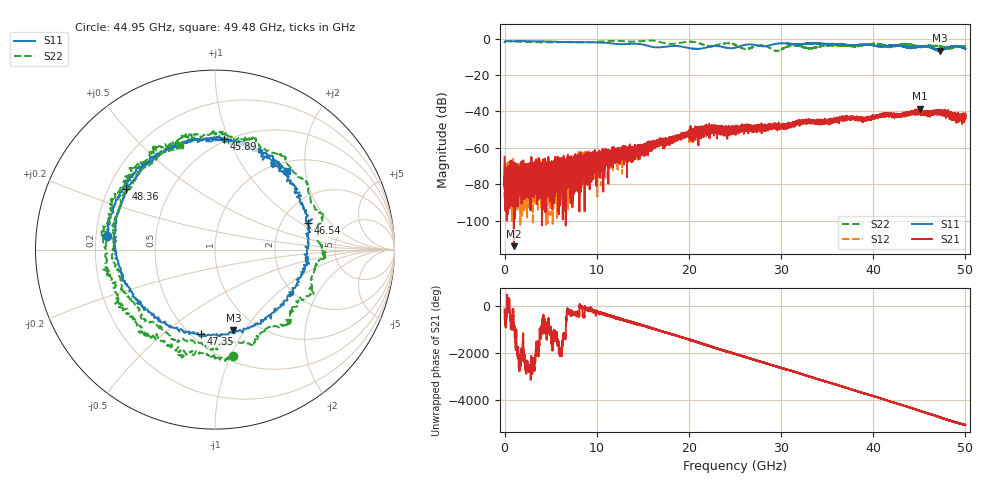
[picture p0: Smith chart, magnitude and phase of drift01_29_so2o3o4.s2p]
!Created with skrf (http://scikit-rf.org).
# Hz S RI R 50.0
!freq ReS11 ImS11 ReS21 ImS21 ReS12 ImS12 ReS22 ImS22
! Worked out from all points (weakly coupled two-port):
!   10001 points, 300 kHz to 50 GHz, reference 50 ohm
!   highest |S21| = -38.46 dB at 45.09 GHz (marker M1); lowest = -113.9 dB at 1 GHz (marker M2)
!   lowest |S11| = -6.7 dB at 47.2 GHz (marker M3), VSWR 2.71, Z = 39.1 - j44.6 ohm
!   |S11| at or under -10 dB: nowhere
!   |S22| runs from -6.8 to -1.0 dB; largest |S21 - S12| = 0.0039
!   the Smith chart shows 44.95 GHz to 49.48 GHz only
!   S11 on the Smith chart (normalised r, x): 44.95 GHz: 0.25, +0.06; 45.89 GHz: 0.48, +0.96; 46.54 GHz: 2.81, +1.16; 47.35 GHz: 0.56, -0.68; 48.36 GHz: 0.27, +0.29; 49.48 GHz: 1.17, +1.58
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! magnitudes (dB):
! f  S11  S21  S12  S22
! 300 kHz  -2.1  -64.9  -67.0  -1.3
! 255.3 MHz  -1.4  -74.5  -77.4  -1.4
! 1 GHz  -1.5  -113.9  -93.9  -1.5
! 4.325 GHz  -1.6  -79.5  -68.7  -2.1
! 8.335 GHz  -1.9  -67.7  -71.2  -2.1
! 16.67 GHz  -4.8  -55.5  -56.8  -1.6
! 21.98 GHz  -4.8  -48.8  -50.2  -4.0
! 25 GHz  -5.0  -49.6  -50.8  -3.4
! 28.09 GHz  -4.3  -49.1  -50.7  -3.8
! 29.52 GHz  -2.9  -46.9  -48.4  -6.7
! 31.31 GHz  -3.1  -46.9  -47.2  -3.9
! 33.34 GHz  -2.6  -45.4  -45.7  -5.3
! 41.67 GHz  -3.9  -41.6  -41.3  -4.5
! 44.95 GHz  -4.3  -41.0  -39.8  -4.4
! 45.09 GHz  -4.3  -38.5  -39.6  -4.8
! 45.89 GHz  -4.2  -41.6  -41.0  -4.2
! 46.54 GHz  -5.4  -40.9  -41.2  -3.9
! 47.2 GHz  -6.7  -39.5  -39.9  -4.3
! 47.35 GHz  -6.4  -40.8  -40.7  -4.6
! 48.36 GHz  -4.5  -41.0  -41.2  -5.6
! 49.48 GHz  -4.5  -43.7  -43.0  -4.3
! 50 GHz  -5.7  -43.8  -43.0  -4.2
